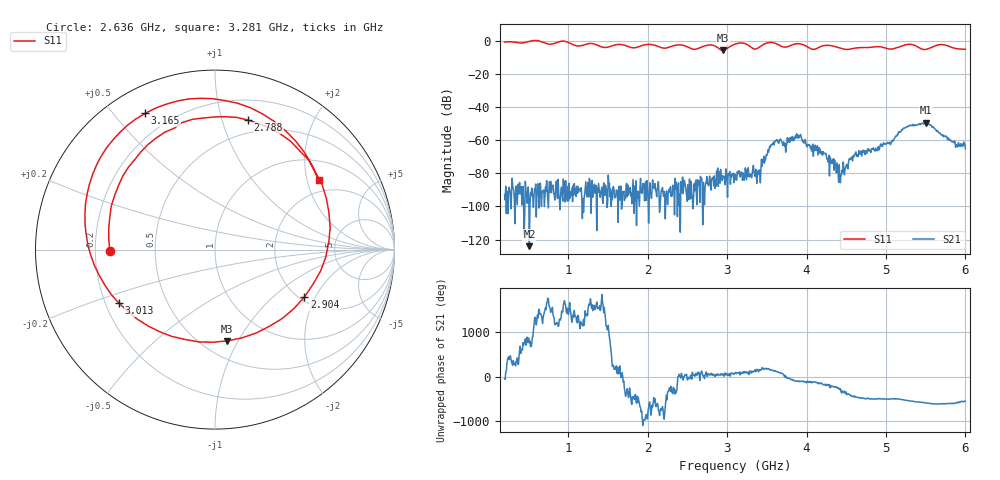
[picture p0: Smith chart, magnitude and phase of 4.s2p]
! NanoVNA-App
! Date: 2024-06-25 16:06:14
! Start: 200MHz Stop: 6GHz Points: 801
! S-Parameter data: F S11 S21 S12 S22
# Hz S RI R 50
!  Frequency  S11_Real  S11_Imag  S21_Real  S21_Imag  S12_Real  S12_Imag  S22_Real  S22_Imag
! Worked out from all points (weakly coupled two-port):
!   801 points, 200 MHz to 6 GHz, reference 50 ohm
!   highest |S21| = -49.53 dB at 5.507 GHz (marker M1); lowest = -124.0 dB at 511.8 MHz (marker M2)
!   lowest |S11| = -5.8 dB at 2.948 GHz (marker M3), VSWR 3.11, Z = 32.7 - j45.2 ohm
!   |S11| at or under -10 dB: nowhere
!   S12 and S22 are empty: the file has one direction only
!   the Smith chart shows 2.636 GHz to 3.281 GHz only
!   S11 on the Smith chart (normalised r, x): 2.636 GHz: 0.26, -0.01; 2.788 GHz: 0.37, +1.22; 2.904 GHz: 2.12, -1.64; 3.013 GHz: 0.26, -0.24; 3.165 GHz: 0.11, +0.61; 3.281 GHz: 1.58, +2.36
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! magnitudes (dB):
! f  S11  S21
! 200 MHz  -0.8  -92.9
! 511.8 MHz  -0.4  -124.0
! 1.171 GHz  -2.9  -94.8
! 2.136 GHz  -3.5  -85.0
! 2.636 GHz  -4.6  -86.2
! 2.788 GHz  -2.6  -86.1
! 2.904 GHz  -5.0  -81.2
! 2.948 GHz  -5.8  -82.5
! 3.013 GHz  -4.3  -80.1
! 3.1 GHz  -2.1  -83.4
! 3.165 GHz  -1.4  -82.2
! 3.281 GHz  -3.2  -82.3
! 3.397 GHz  -4.2  -80.7
! 3.607 GHz  -1.5  -60.5
! 3.905 GHz  -1.8  -58.6
! 4.072 GHz  -5.1  -63.3
! 4.427 GHz  -4.4  -85.8
! 4.593 GHz  -4.6  -70.3
! 5.036 GHz  -5.0  -62.0
! 5.246 GHz  -2.5  -52.3
! 5.507 GHz  -5.2  -49.5
! 6 GHz  -5.2  -65.2
